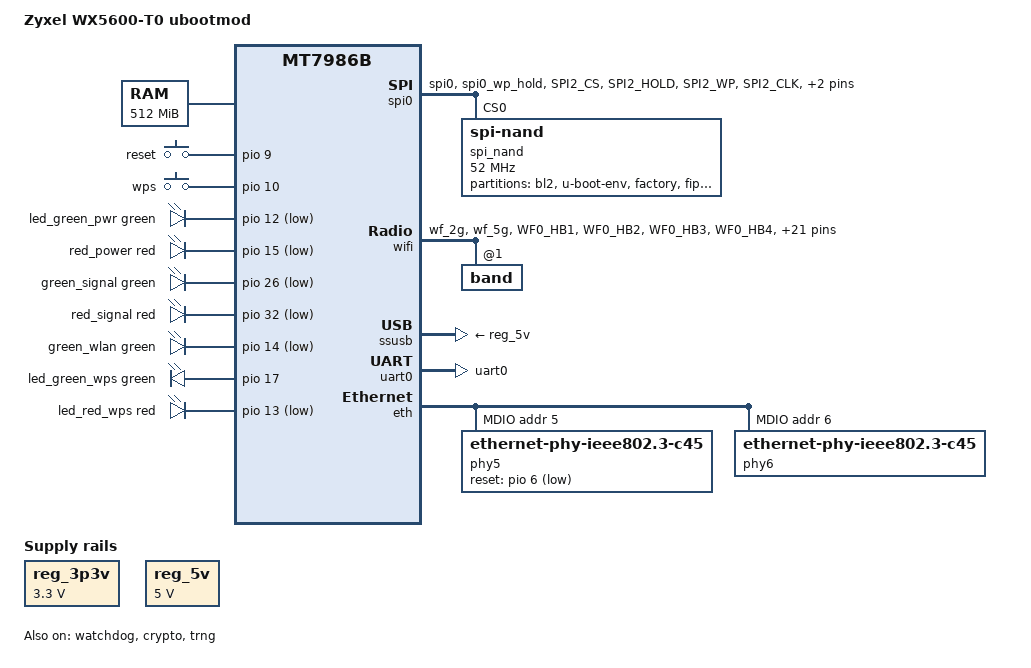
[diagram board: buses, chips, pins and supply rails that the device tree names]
// SPDX-License-Identifier: (GPL-2.0 OR MIT)

/dts-v1/;
#include <dt-bindings/gpio/gpio.h>
#include <dt-bindings/input/input.h>
#include <dt-bindings/leds/common.h>
#include <dt-bindings/pinctrl/mt65xx.h>

#include "mt7986b.dtsi"

/ {
	model = "Zyxel WX5600-T0 ubootmod";
	compatible = "zyxel,wx5600-t0-ubootmod", "mediatek,mt7986b";

	aliases {
		serial0 = &uart0;
		label-mac-device = &gmac0;
		led-boot = &led_green_pwr;
		led-failsafe = &led_red_wps;
		led-running = &led_green_pwr;
		led-upgrade = &led_green_wps;
	};

	chosen {
		stdout-path = "serial0:115200n8";
		bootargs-append = " root=/dev/fit0 rootwait";
		rootdisk = <&ubi_rootdisk>;
	};

	memory@40000000 {
		device_type = "memory";
		reg = <0 0x40000000 0 0x20000000>;
	};

	reg_3p3v: regulator-3p3v {
		compatible = "regulator-fixed";
		regulator-name = "fixed-3.3V";
		regulator-min-microvolt = <3300000>;
		regulator-max-microvolt = <3300000>;
		regulator-boot-on;
		regulator-always-on;
	};

	reg_5v: regulator-5v {
		compatible = "regulator-fixed";
		regulator-name = "fixed-5V";
		regulator-min-microvolt = <5000000>;
		regulator-max-microvolt = <5000000>;
		regulator-boot-on;
		regulator-always-on;
	};

	keys {
		compatible = "gpio-keys";

		reset-button {
			label = "reset";
			gpios = <&pio 9 GPIO_ACTIVE_HIGH>;
			linux,code = <KEY_RESTART>;
		};

		wps-button {
			label = "wps";
			gpios = <&pio 10 GPIO_ACTIVE_HIGH>;
			linux,code = <KEY_WPS_BUTTON>;
		};
	};

	leds {
		compatible = "gpio-leds";

		led_green_pwr: green_power {
			gpios = <&pio 12 GPIO_ACTIVE_LOW>;
			color = <LED_COLOR_ID_GREEN>;
			function = LED_FUNCTION_BOOT;
		};

		red_power {
			gpios = <&pio 15 GPIO_ACTIVE_LOW>;
			color = <LED_COLOR_ID_RED>;
			function = LED_FUNCTION_BOOT;
			panic-indicator;
		};

		green_signal {
			gpios = <&pio 26 GPIO_ACTIVE_LOW>;
			color = <LED_COLOR_ID_GREEN>;
			function = LED_FUNCTION_LAN;
			function-enumerator = <0>;
		};

		red_signal{
			gpios = <&pio 32 GPIO_ACTIVE_LOW>;
			color = <LED_COLOR_ID_RED>;
			function = LED_FUNCTION_LAN;
			function-enumerator = <1>;
		};

		green_wlan {
			gpios = <&pio 14 GPIO_ACTIVE_LOW>;
			color = <LED_COLOR_ID_GREEN>;
			function = LED_FUNCTION_WLAN;
			function-enumerator = <0>;
		};

		led_green_wps: green_wps {
			gpios = <&pio 17 GPIO_ACTIVE_HIGH>;
			color = <LED_COLOR_ID_GREEN>;
			function = LED_FUNCTION_WPS;
			function-enumerator = <0>;
		};

		led_red_wps: red_wps {
			gpios = <&pio 13 GPIO_ACTIVE_LOW>;
			color = <LED_COLOR_ID_RED>;
			function = LED_FUNCTION_WPS;
			function-enumerator = <1>;
		};
	};
};

&spi0 {
	pinctrl-names = "default";
	pinctrl-0 = <&spi_flash_pins>;
	status = "okay";

	spi_nand@0 {
		compatible = "spi-nand";
		reg = <0>;
		spi-max-frequency = <52000000>;
		spi-tx-bus-width = <4>;
		spi-rx-bus-width = <4>;

		partitions {
			compatible = "fixed-partitions";
			#address-cells = <1>;
			#size-cells = <1>;

			partition@0 {
				label = "bl2";
				reg = <0x0 0x100000>;
				read-only;
			};

			partition@100000 {
				label = "u-boot-env";
				reg = <0x100000 0x80000>;
				read-only;
			};

			partition@180000 {
				label = "factory";
				reg = <0x180000 0x200000>;
				read-only;

				nvmem-layout {
					compatible = "fixed-layout";
					#address-cells = <1>; 
					#size-cells = <1>;

					eeprom_factory: eeprom@0 {
						#size-cells = <1>;
						reg = <0x0 0x1000>;
					};

					macaddr_factory_4: macaddr@4 {
						compatible = "mac-base";
						reg = <0x4 0x6>;
						#nvmem-cell-cells = <1>;
					};

					macaddr_factory_24: macaddr@24 {
						compatible = "mac-base";
						reg = <0x24 0x6>;
						#nvmem-cell-cells = <1>;
					};

					macaddr_factory_2a: macaddr@2a {
						compatible = "mac-base";
						reg = <0x2a 0x6>;
						#nvmem-cell-cells = <1>;
					};
				};
			};

			partition@380000 {
				label = "fip";
				reg = <0x380000 0x1c0000>;
				read-only;
			};

			partition@540000 {
				label = "zloader";
				reg = <0x540000 0x40000>;
				read-only;
			};

			partition@580000 {
				label = "ubi";
				reg = <0x580000 0x1da80000>;
				compatible = "linux,ubi";

				volumes {
					ubi_rootdisk: ubi-volume-fit {
						volname = "fit";
					};
				};
			};
		};

	};
};

&watchdog {
	status = "okay";
};

&wifi {
	#address-cells = <1>;
	#size-cells = <0>;

	status = "okay";
	pinctrl-names = "default", "dbdc";
	pinctrl-0 = <&wf_2g_5g_pins>;
	pinctrl-1 = <&wf_dbdc_pins>;
	nvmem-cells = <&eeprom_factory>;
	nvmem-cell-names = "eeprom";

	band@1 {
		reg = <1>;
		nvmem-cells = <&macaddr_factory_4 1>;
		nvmem-cell-names = "mac-address";
	};
};

&crypto {
	status = "okay";
};

&pio {
	spi_flash_pins: spi-flash-pins-33-to-38 {
		mux {
			function = "spi";
			groups = "spi0", "spi0_wp_hold";
		};
		conf-pu {
			pins = "SPI2_CS", "SPI2_HOLD", "SPI2_WP";
			drive-strength = <MTK_DRIVE_8mA>;
			mediatek,pull-up-adv = <0>;	/* bias-disable */
		};
		conf-pd {
			pins = "SPI2_CLK", "SPI2_MOSI", "SPI2_MISO";
			drive-strength = <MTK_DRIVE_8mA>;
			mediatek,pull-down-adv = <0>;	/* bias-disable */
		};
	};

	uart0_pins: uart0-pins {
		mux {
			function = "uart";
			groups = "uart0";
		};
	};

	wf_2g_5g_pins: wf_2g_5g-pins {
		mux {
			function = "wifi";
			groups = "wf_2g", "wf_5g";
		};
		conf {
			pins = "WF0_HB1", "WF0_HB2", "WF0_HB3", "WF0_HB4",
				"WF0_HB0", "WF0_HB0_B", "WF0_HB5", "WF0_HB6",
				"WF0_HB7", "WF0_HB8", "WF0_HB9", "WF0_HB10",
				"WF0_TOP_CLK", "WF0_TOP_DATA", "WF1_HB1",
				"WF1_HB2", "WF1_HB3", "WF1_HB4", "WF1_HB0",
				"WF1_HB5", "WF1_HB6", "WF1_HB7", "WF1_HB8",
				"WF1_TOP_CLK", "WF1_TOP_DATA";
			drive-strength = <MTK_DRIVE_4mA>;
		};
	};

	wf_dbdc_pins: wf_dbdc-pins {
		mux {
			function = "wifi";
			groups = "wf_dbdc";
		};
		conf {
			pins = "WF0_HB1", "WF0_HB2", "WF0_HB3", "WF0_HB4",
				"WF0_HB0", "WF0_HB0_B", "WF0_HB5", "WF0_HB6",
				"WF0_HB7", "WF0_HB8", "WF0_HB9", "WF0_HB10",
				"WF0_TOP_CLK", "WF0_TOP_DATA", "WF1_HB1",
				"WF1_HB2", "WF1_HB3", "WF1_HB4", "WF1_HB0",
				"WF1_HB5", "WF1_HB6", "WF1_HB7", "WF1_HB8",
				"WF1_TOP_CLK", "WF1_TOP_DATA";
			drive-strength = <MTK_DRIVE_4mA>;
		};
	};
};

&ssusb {
	vusb33-supply = <&reg_3p3v>;
	vbus-supply = <&reg_5v>;
	status = "okay";
};

&trng {
	status = "okay";
};

&uart0 {
	pinctrl-names = "default";
	pinctrl-0 = <&uart0_pins>;
	status = "okay";
};

&eth {
	status = "okay";
	
	gmac0: mac@0 {
		compatible = "mediatek,eth-mac";
		reg = <0>;
		nvmem-cells = <&macaddr_factory_24 0>;
		nvmem-cell-names = "mac-address";
		phy-mode = "2500base-x";
		phy-handle = <&phy5>;
		label = "lan2";
	};
	
	gmac1: mac@1 {
		compatible = "mediatek,eth-mac";
		reg = <1>;
		nvmem-cells = <&macaddr_factory_2a 0>;
		nvmem-cell-names = "mac-address";
		phy-mode = "2500base-x";
		phy-handle = <&phy6>;
		label = "lan1";
	};
	
	mdio: mdio-bus{
		#address-cells = <1>;
		#size-cells = <0>;
		
		phy5: phy@5 {
			compatible = "ethernet-phy-ieee802.3-c45";
			reset-gpios = <&pio 6 GPIO_ACTIVE_LOW>;
			reset-assert-us = <600>;
			reset-deassert-us = <20000>;
			reg = <5>;
			
			leds {
				#address-cells = <1>;
				#size-cells = <0>;
				
				led@0 {
					reg = <0>;
					color = <LED_COLOR_ID_GREEN>;
					function = LED_FUNCTION_LAN;
				};
			};
		};
		
		phy6: phy@6 {
			compatible = "ethernet-phy-ieee802.3-c45";
			reg = <6>;

			leds {
				#address-cells = <1>;
				#size-cells = <0>;
				
				led@0 {
					reg = <0>;
					color = <LED_COLOR_ID_GREEN>;
					function = LED_FUNCTION_LAN;
				};
			};
		};
	};
};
